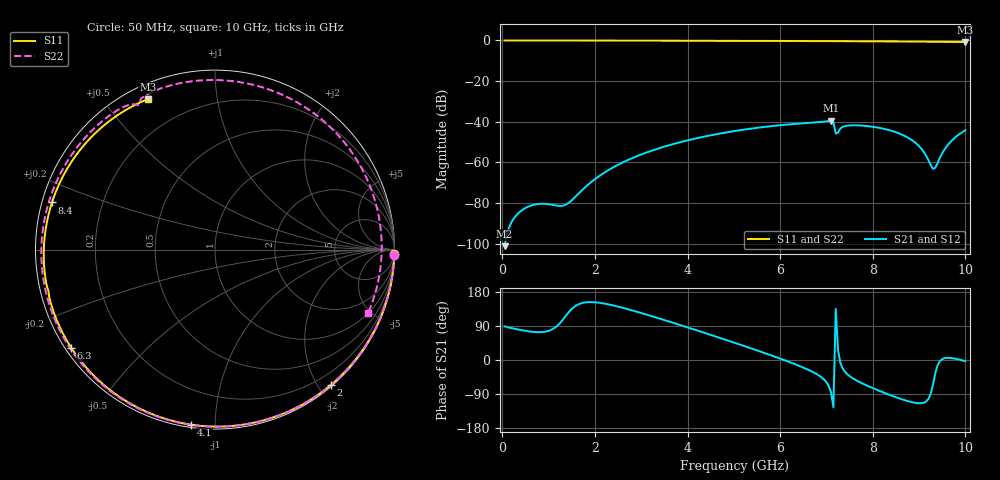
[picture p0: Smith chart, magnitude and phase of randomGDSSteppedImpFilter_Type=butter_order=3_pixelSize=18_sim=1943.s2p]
! freq	dB(S11)	phase(S11)	dB(S12)	phase(S12)
!  dB(S21)	phase(S21)	dB(S22)	phase(S22)
!S-par simulation data
#  GHz  S  DB  R 50
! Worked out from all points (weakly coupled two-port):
!   200 points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, 50 MHz to 10 GHz, reference 50 ohm
!   highest |S21| = -39.47 dB at 7.1 GHz (marker M1); lowest = -101.3 dB at 50 MHz (marker M2)
!   lowest |S11| = -0.7 dB at 10 GHz (marker M3), VSWR 23.44, Z = 3.03 + j32.3 ohm
!   |S11| at or under -10 dB: nowhere
!   |S22| runs from -0.8 to 0.0 dB; largest |S21 - S12| = 0
!   S11 on the Smith chart (normalised r, x): 50 MHz: 1, -89; 2 GHz: 0.02, -2.17; 4.1 GHz: 0.01, -0.87; 6.3 GHz: 0.02, -0.31; 8.4 GHz: 0.03, +0.14; 10 GHz: 0.06, +0.65
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0.05  -0.00 -1.3  -101.30 88.5  -101.30 88.5  -0.00 -1.7
0.7  -0.02 -17.6  -80.83 73.8  -80.83 73.8  -0.03 -23.7
1.4  -0.04 -35.0  -80.50 121.1  -80.50 121.1  -0.06 -46.9
1.75  -0.06 -43.5  -73.14 151.1  -73.14 151.1  -0.07 -58.3
2  -0.06 -49.5  -68.31 152.3  -68.31 152.3  -0.08 -66.3
2.6  -0.08 -63.7  -60.07 137.8  -60.07 137.8  -0.11 -85.2
3.4  -0.11 -82.1  -52.97 109.2  -52.97 109.2  -0.14 -110.0
4.1  -0.14 -97.7  -48.66 82.2  -48.66 82.2  -0.18 -131.5
5.05  -0.18 -118.4  -44.49 44.1  -44.49 44.1  -0.24 -161.7
5.7  -0.22 -132.5  -42.47 16.9  -42.47 16.9  -0.30 176.3
6.3  -0.27 -145.7  -41.14 -10.1  -41.14 -10.1  -0.35 154.1
6.7  -0.30 -154.6  -40.47 -31.4  -40.47 -31.4  -0.40 138.1
7.1  -0.35 -163.9  -39.47 -86.0  -39.47 -86.0  -0.57 120.1
7.15  -0.37 -165.1  -40.09 -125.1  -40.09 -125.1  -0.77 118.0
7.2  -0.39 -166.0  -45.90 134.6  -45.90 134.6  -0.81 118.1
7.5  -0.38 -173.2  -41.84 -42.6  -41.84 -42.6  -0.47 103.4
8.35  -0.48 165.2  -44.13 -91.4  -44.13 -91.4  -0.54 60.7
8.4  -0.49 163.9  -44.46 -93.7  -44.46 -93.7  -0.55 58.1
8.95  -0.56 148.3  -50.98 -113.7  -50.98 -113.7  -0.59 29.4
9.3  -0.62 137.7  -63.21 -65.3  -63.21 -65.3  -0.62 11.4
9.65  -0.68 126.3  -50.67 5.7  -50.67 5.7  -0.65 -6.0
10  -0.74 114.1  -44.19 -3.4  -44.19 -3.4  -0.70 -22.6
